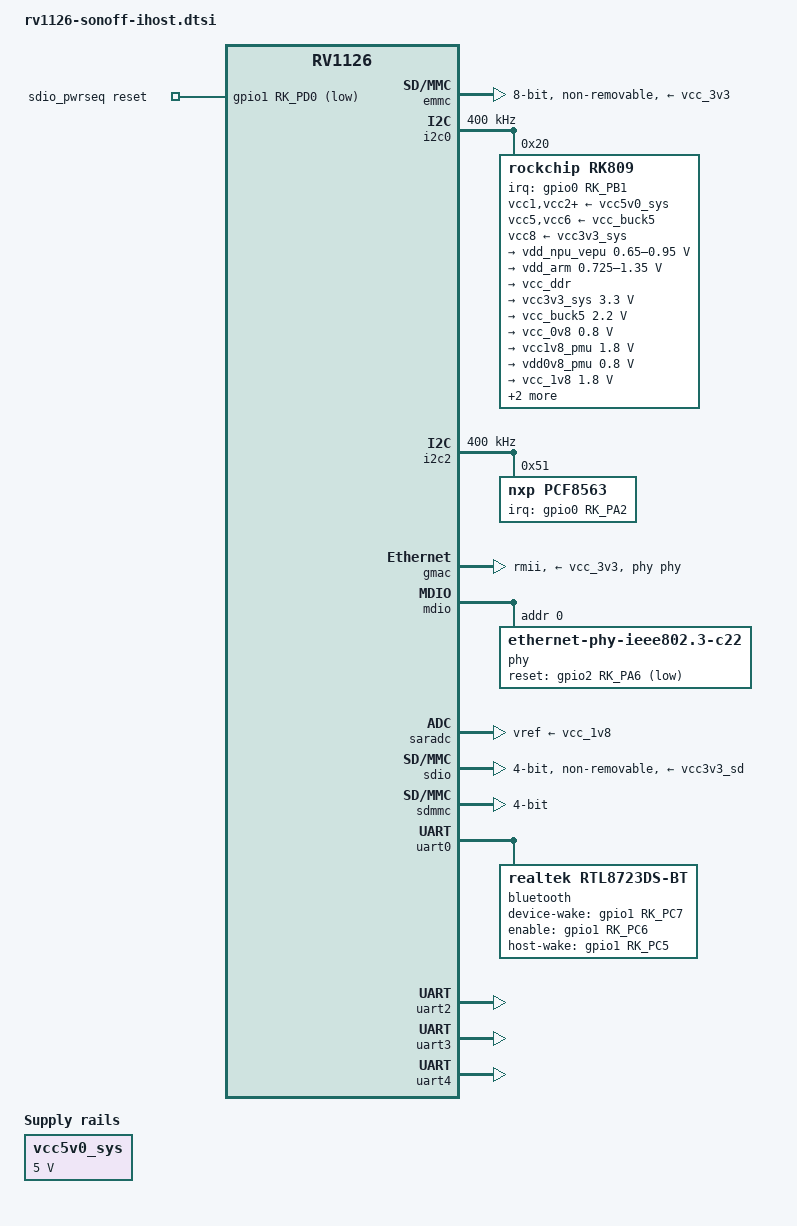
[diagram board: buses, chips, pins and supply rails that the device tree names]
// SPDX-License-Identifier: (GPL-2.0+ OR MIT)
/*
 * Copyright (c) 2020 Rockchip Electronics Co., Ltd.
 * Copyright (c) 2022 Edgeble AI Technologies Pvt. Ltd.
 */

/ {
	aliases {
		ethernet0 = &gmac;
		mmc0 = &emmc;
		mmc1 = &sdio;
		mmc2 = &sdmmc;
	};

	chosen {
		stdout-path = "serial2:1500000n8";
	};

	vcc5v0_sys: regulator-vcc5v0-sys {
		compatible = "regulator-fixed";
		regulator-name = "vcc5v0_sys";
		regulator-always-on;
		regulator-boot-on;
		regulator-min-microvolt = <5000000>;
		regulator-max-microvolt = <5000000>;
	};

	sdio_pwrseq: pwrseq-sdio {
		compatible = "mmc-pwrseq-simple";
		clocks = <&rk809 1>;
		clock-names = "ext_clock";
		pinctrl-names = "default";
		pinctrl-0 = <&wifi_enable_h>;
		reset-gpios = <&gpio1 RK_PD0 GPIO_ACTIVE_LOW>;
	};
};

&emmc {
	bus-width = <8>;
	cap-mmc-highspeed;
	mmc-hs200-1_8v;
	non-removable;
	pinctrl-names = "default";
	pinctrl-0 = <&emmc_bus8 &emmc_cmd &emmc_clk &emmc_rstnout>;
	rockchip,default-sample-phase = <90>;
	vmmc-supply = <&vcc_3v3>;
	vqmmc-supply = <&vcc_1v8>;
	status = "okay";
};

&i2c0 {
	clock-frequency = <400000>;
	status = "okay";

	rk809: pmic@20 {
		compatible = "rockchip,rk809";
		reg = <0x20>;
		interrupt-parent = <&gpio0>;
		interrupts = <RK_PB1 IRQ_TYPE_LEVEL_LOW>;
		#clock-cells = <1>;
		clock-output-names = "rk808-clkout1", "rk808-clkout2";
		pinctrl-names = "default";
		pinctrl-0 = <&pmic_int_l>;
		rockchip,system-power-controller;
		wakeup-source;

		vcc1-supply = <&vcc5v0_sys>;
		vcc2-supply = <&vcc5v0_sys>;
		vcc3-supply = <&vcc5v0_sys>;
		vcc4-supply = <&vcc5v0_sys>;
		vcc5-supply = <&vcc_buck5>;
		vcc6-supply = <&vcc_buck5>;
		vcc7-supply = <&vcc5v0_sys>;
		vcc8-supply = <&vcc3v3_sys>;
		vcc9-supply = <&vcc5v0_sys>;

		regulators {
			vdd_npu_vepu: DCDC_REG1 {
				regulator-name = "vdd_npu_vepu";
				regulator-always-on;
				regulator-boot-on;
				regulator-initial-mode = <0x2>;
				regulator-min-microvolt = <650000>;
				regulator-max-microvolt = <950000>;
				regulator-ramp-delay = <6001>;
				regulator-state-mem {
					regulator-off-in-suspend;
				};
			};

			vdd_arm: DCDC_REG2 {
				regulator-name = "vdd_arm";
				regulator-always-on;
				regulator-boot-on;
				regulator-initial-mode = <0x2>;
				regulator-min-microvolt = <725000>;
				regulator-max-microvolt = <1350000>;
				regulator-ramp-delay = <6001>;
				regulator-state-mem {
					regulator-off-in-suspend;
				};
			};

			vcc_ddr: DCDC_REG3 {
				regulator-name = "vcc_ddr";
				regulator-always-on;
				regulator-boot-on;
				regulator-initial-mode = <0x2>;
				regulator-state-mem {
					regulator-on-in-suspend;
				};
			};

			vcc3v3_sys: DCDC_REG4 {
				regulator-name = "vcc3v3_sys";
				regulator-always-on;
				regulator-boot-on;
				regulator-initial-mode = <0x2>;
				regulator-min-microvolt = <3300000>;
				regulator-max-microvolt = <3300000>;
				regulator-state-mem {
					regulator-on-in-suspend;
					regulator-suspend-microvolt = <3300000>;
				};
			};

			vcc_buck5: DCDC_REG5 {
				regulator-name = "vcc_buck5";
				regulator-always-on;
				regulator-boot-on;
				regulator-min-microvolt = <2200000>;
				regulator-max-microvolt = <2200000>;
				regulator-state-mem {
					regulator-on-in-suspend;
					regulator-suspend-microvolt = <2200000>;
				};
			};

			vcc_0v8: LDO_REG1 {
				regulator-name = "vcc_0v8";
				regulator-always-on;
				regulator-boot-on;
				regulator-min-microvolt = <800000>;
				regulator-max-microvolt = <800000>;
				regulator-state-mem {
					regulator-off-in-suspend;
				};
			};

			vcc1v8_pmu: LDO_REG2 {
				regulator-name = "vcc1v8_pmu";
				regulator-always-on;
				regulator-boot-on;
				regulator-min-microvolt = <1800000>;
				regulator-max-microvolt = <1800000>;
				regulator-state-mem {
					regulator-on-in-suspend;
					regulator-suspend-microvolt = <1800000>;
				};
			};

			vdd0v8_pmu: LDO_REG3 {
				regulator-name = "vcc0v8_pmu";
				regulator-always-on;
				regulator-boot-on;
				regulator-min-microvolt = <800000>;
				regulator-max-microvolt = <800000>;
				regulator-state-mem {
					regulator-on-in-suspend;
					regulator-suspend-microvolt = <800000>;
				};
			};

			vcc_1v8: LDO_REG4 {
				regulator-name = "vcc_1v8";
				regulator-always-on;
				regulator-boot-on;
				regulator-min-microvolt = <1800000>;
				regulator-max-microvolt = <1800000>;
				regulator-state-mem {
					regulator-on-in-suspend;
					regulator-suspend-microvolt = <1800000>;
				};
			};

			vcc_dovdd: LDO_REG5 {
				regulator-name = "vcc_dovdd";
				regulator-always-on;
				regulator-boot-on;
				regulator-min-microvolt = <1800000>;
				regulator-max-microvolt = <1800000>;
				regulator-state-mem {
					regulator-off-in-suspend;
				};
			};

			vcc_dvdd: LDO_REG6 {
				regulator-name = "vcc_dvdd";
				regulator-min-microvolt = <1200000>;
				regulator-max-microvolt = <1200000>;
				regulator-state-mem {
					regulator-off-in-suspend;
				};
			};

			vcc_avdd: LDO_REG7 {
				regulator-name = "vcc_avdd";
				regulator-min-microvolt = <2800000>;
				regulator-max-microvolt = <2800000>;
				regulator-state-mem {
					regulator-off-in-suspend;
				};
			};

			vccio_sd: LDO_REG8 {
				regulator-name = "vccio_sd";
				regulator-always-on;
				regulator-boot-on;
				regulator-min-microvolt = <1800000>;
				regulator-max-microvolt = <3300000>;
				regulator-state-mem {
					regulator-off-in-suspend;
				};
			};

			vcc3v3_sd: LDO_REG9 {
				regulator-name = "vcc3v3_sd";
				regulator-always-on;
				regulator-boot-on;
				regulator-min-microvolt = <3300000>;
				regulator-max-microvolt = <3300000>;
				regulator-state-mem {
					regulator-off-in-suspend;
				};
			};

			vcc_5v0: SWITCH_REG1 {
				regulator-name = "vcc_5v0";
			};

			vcc_3v3: SWITCH_REG2 {
				regulator-name = "vcc_3v3";
				regulator-always-on;
				regulator-boot-on;
			};
		};
	};
};

&i2c2 {
	status = "okay";
	clock-frequency = <400000>;

	pcf8563: rtc@51 {
		compatible = "nxp,pcf8563";
		reg = <0x51>;
		#clock-cells = <0>;
		interrupt-parent = <&gpio0>;
		interrupts = <RK_PA2 IRQ_TYPE_LEVEL_LOW>;
		clock-output-names = "xin32k";
	};
};

&gmac {
	assigned-clocks = <&cru CLK_GMAC_SRC_M1>, <&cru CLK_GMAC_SRC>,
			  <&cru CLK_GMAC_TX_RX>;
	assigned-clock-parents = <&cru CLK_GMAC_RGMII_M1>, <&cru CLK_GMAC_SRC_M1>,
				 <&cru RMII_MODE_CLK>;
	assigned-clock-rates = <0>, <50000000>;
	clock_in_out = "output";
	phy-handle = <&phy>;
	phy-mode = "rmii";
	phy-supply = <&vcc_3v3>;
	pinctrl-names = "default";
	pinctrl-0 = <&rgmiim1_miim &rgmiim1_rxer &rgmiim1_bus2 &rgmiim1_mclkinout>;
	status = "okay";
};

&mdio {
	phy: ethernet-phy@0 {
		compatible = "ethernet-phy-ieee802.3-c22";
		reg = <0x0>;
		pinctrl-names = "default";
		pinctrl-0 = <&eth_phy_rst>;
		reset-active-low;
		reset-assert-us = <50000>;
		reset-deassert-us = <10000>;
		reset-gpios = <&gpio2 RK_PA6 GPIO_ACTIVE_LOW>;
	};
};

&pinctrl {
	ethernet {
		eth_phy_rst: eth-phy-rst {
			rockchip,pins = <2 RK_PA6 RK_FUNC_GPIO &pcfg_pull_down>;
		};
	};
	bt {
		bt_enable: bt-enable {
			rockchip,pins = <1 RK_PC6 RK_FUNC_GPIO &pcfg_pull_none>;
		};

		bt_wake_dev: bt-wake-dev {
			rockchip,pins = <1 RK_PC7 RK_FUNC_GPIO &pcfg_pull_none>;
		};

		bt_wake_host: bt-wake-host {
			rockchip,pins = <1 RK_PC5 RK_FUNC_GPIO &pcfg_pull_none>;
		};
	};

	pmic {
		pmic_int_l: pmic-int-l {
			rockchip,pins = <0 RK_PB1 RK_FUNC_GPIO &pcfg_pull_up>;
		};
	};

	wifi {
		wifi_enable_h: wifi-enable-h {
			rockchip,pins = <1 RK_PD0 RK_FUNC_GPIO &pcfg_pull_none>;
		};
	};
};

&pmu_io_domains {
	pmuio0-supply = <&vcc1v8_pmu>;
	pmuio1-supply = <&vcc3v3_sys>;
	vccio1-supply = <&vcc_1v8>;
	vccio2-supply = <&vccio_sd>;
	vccio3-supply = <&vcc3v3_sd>;
	vccio4-supply = <&vcc_dovdd>;
	vccio5-supply = <&vcc_1v8>;
	vccio6-supply = <&vcc_1v8>;
	vccio7-supply = <&vcc_dovdd>;
	status = "okay";
};

&saradc {
	vref-supply = <&vcc_1v8>;
	status = "okay";
};

&sdio {
	bus-width = <4>;
	cap-sd-highspeed;
	cap-sdio-irq;
	keep-power-in-suspend;
	max-frequency = <50000000>;
	mmc-pwrseq = <&sdio_pwrseq>;
	non-removable;
	pinctrl-names = "default";
	pinctrl-0 = <&sdmmc1_clk &sdmmc1_cmd &sdmmc1_bus4>;
	rockchip,default-sample-phase = <90>;
	sd-uhs-sdr50;
	vmmc-supply = <&vcc3v3_sd>;
	vqmmc-supply = <&vcc_1v8>;
	status = "okay";
};

&sdmmc {
	bus-width = <4>;
	cap-mmc-highspeed;
	cap-sd-highspeed;
	card-detect-delay = <200>;
	pinctrl-names = "default";
	pinctrl-0 = <&sdmmc0_clk &sdmmc0_cmd &sdmmc0_bus4 &sdmmc0_det>;
	rockchip,default-sample-phase = <90>;
	sd-uhs-sdr12;
	sd-uhs-sdr25;
	sd-uhs-sdr104;
	vqmmc-supply = <&vccio_sd>;
	status = "okay";
};

&uart0 {
	pinctrl-names = "default";
	pinctrl-0 = <&uart0_xfer &uart0_ctsn &uart0_rtsn>;
	uart-has-rtscts;
	status = "okay";

	bluetooth {
		compatible = "realtek,rtl8723ds-bt";
		device-wake-gpios = <&gpio1 RK_PC7 GPIO_ACTIVE_HIGH>; /* BT_WAKE */
		enable-gpios = <&gpio1 RK_PC6 GPIO_ACTIVE_HIGH>; /* BT_RST */
		host-wake-gpios = <&gpio1 RK_PC5 GPIO_ACTIVE_HIGH>; /* BT_WAKE_HOST */
		max-speed = <2000000>;
		pinctrl-names = "default";
		pinctrl-0 = <&bt_enable>, <&bt_wake_dev>, <&bt_wake_host>;
	};
};

&uart2 {
	status = "okay";
};

&uart3 {
	pinctrl-names = "default";
	pinctrl-0 = <&uart3m2_xfer>;
	status = "okay";
};

&uart4 {
	pinctrl-names = "default";
	pinctrl-0 = <&uart4m2_xfer>;
	status = "okay";
};
